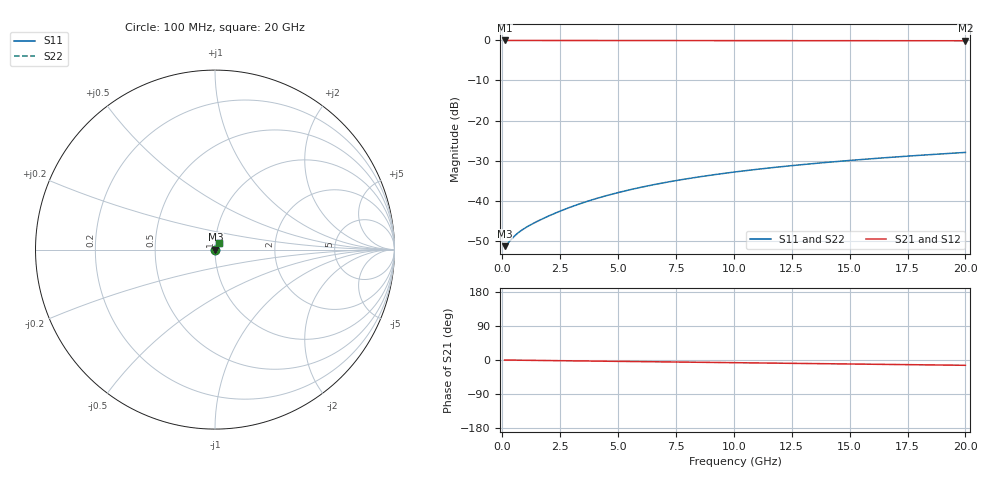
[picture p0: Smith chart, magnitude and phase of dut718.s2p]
! Touchstone file exported from HFSS 2026.1.0
!  File:  C:/ffzhzh/LocalFiles/Ansys_Project_Files/temp_train_BSMRDL_718_1783168310_51560.aedt
!  Generated:  08:32:59 PM Jul  4, 2026
!  Design:  BSMRDL
!  Project:  temp_train_BSMRDL_718_1783168310_51560
! Variables:
!  h_bsmrdl = 3.18um
!  h_ox = 20um
!  h_rdl = 5um
!  h_sub = 80um
!  h_tmrdl = 5um
!  h_tsv = 80um
!  h_via = 3um
!  l_bsmrdl = 246.67um
!  l_sub = 646.67um
!  l_tmrdl = 200um
!  m_sub = 200um
!  pitch = 14.74um
!  r_tsv = 6um
!  s_tmrdl = 10um
!  w_bsmrdl = 10.91um
!  w_sub = 500um
!  w_tmrdl = 12um
!  x_tsv_center1 = 206um
!  x_tsv_center2 = 463.58um
!  x_tsv_center3 = 675.58um
!  x_tsv_center4 = 933.16um
!  x_tsv_center5 = 1145.16um
!  x_tsv_center6 = 1402.74um
# GHz S MA R 50.000000
! Terminal data exported
! Port[1] = BSM_RDL1_1_T1
! Port[2] = BSM_RDL1_1_T2
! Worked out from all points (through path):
!   200 points, 100 MHz to 20 GHz, reference 50 ohm
!   highest |S21| = -0.02 dB at 100 MHz (marker M1); lowest = -0.1 dB at 20 GHz (marker M2)
!   group delay of S21, straight-line fit = 1.93 ps
!   lowest |S11| = -51.3 dB at 100 MHz (marker M3), VSWR 1.01, Z = 50.3 + j0.0412 ohm
!   |S11| at or under -10 dB: start of sweep to end of sweep
!   |S22| runs from -51.3 to -28.0 dB; largest |S21 - S12| = 2.7e-15
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0.1  0.002708 8.7  0.9973 -0.1  0.9973 -0.1  0.002708 8.7
! Gamma 0 0 0 0
! Port Impedance 50 0 50 0
0.2  0.002864 16.2  0.9973 -0.2  0.9973 -0.2  0.002864 16.2
0.5  0.00356 29.4  0.9969 -0.4  0.9969 -0.4  0.00356 29.4
0.7  0.004005 34.0  0.9967 -0.5  0.9967 -0.5  0.004006 34.0
0.9  0.004406 37.5  0.9965 -0.7  0.9965 -0.7  0.004406 37.5
1.2  0.004961 41.9  0.9963 -0.9  0.9963 -0.9  0.004961 41.9
1.7  0.005873 48.0  0.9961 -1.3  0.9961 -1.3  0.005873 48.0
2.3  0.007019 53.4  0.996 -1.7  0.996 -1.7  0.007019 53.4
2.9  0.008221 57.2  0.9958 -2.1  0.9958 -2.1  0.008221 57.2
3.5  0.00946 60.0  0.9956 -2.5  0.9956 -2.5  0.00946 59.9
4.2  0.01093 62.1  0.9954 -3.0  0.9954 -3.0  0.01093 62.1
5  0.01262 63.7  0.9951 -3.6  0.9951 -3.6  0.01262 63.7
5.9  0.01451 64.7  0.9947 -4.2  0.9947 -4.2  0.01451 64.7
6.8  0.01638 65.2  0.9943 -4.9  0.9943 -4.9  0.01638 65.2
7.6  0.01801 65.4  0.9939 -5.4  0.9939 -5.4  0.01801 65.4
8.4  0.01962 65.4  0.9936 -6.0  0.9936 -6.0  0.01962 65.4
10.1  0.02293 65.0  0.9927 -7.2  0.9927 -7.2  0.02293 65.0
11.7  0.02592 64.4  0.992 -8.3  0.992 -8.3  0.02592 64.4
13.4  0.02898 63.7  0.9912 -9.5  0.9912 -9.5  0.02898 63.7
15  0.03176 62.9  0.9905 -10.6  0.9905 -10.6  0.03177 62.9
16.7  0.03464 62.1  0.9897 -11.7  0.9897 -11.7  0.03464 62.1
20  0.04 60.4  0.9884 -14.0  0.9884 -14.0  0.04001 60.4
